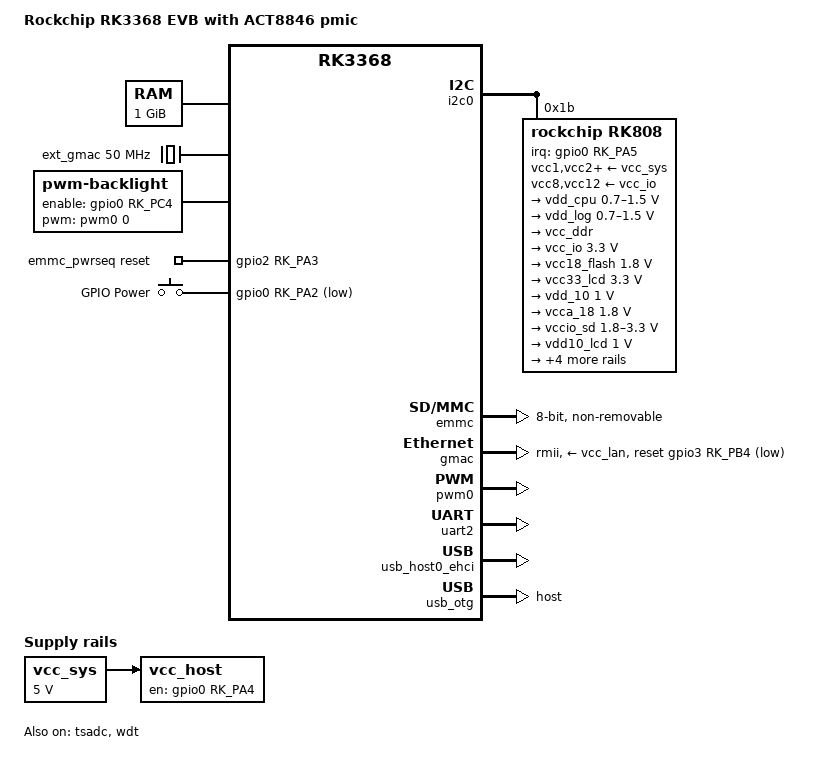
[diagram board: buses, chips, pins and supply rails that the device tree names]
// SPDX-License-Identifier: (GPL-2.0+ OR MIT)
/*
 * Copyright (c) 2015 Caesar Wang <wxt@rock-chips.com>
 */
/dts-v1/;
#include <dt-bindings/input/input.h>
#include <dt-bindings/pwm/pwm.h>
#include "rk3368.dtsi"
#include "rk3368-u-boot.dtsi"

/ {
	model = "Rockchip RK3368 EVB with ACT8846 pmic";
	compatible = "rockchip,rk3368-evb-act8846", "rockchip,rk3368";
	aliases {
		ethernet0 = &gmac;
		mmc0 = &emmc;
	};

	chosen {
		stdout-path = "serial2:1500000n8";
	};

	memory@0 {
		device_type = "memory";
		reg = <0x0 0x0 0x0 0x40000000>;
	};

	ext_gmac: gmac-clk {
		compatible = "fixed-clock";
		clock-frequency = <50000000>;
		clock-output-names = "ext_gmac";
		#clock-cells = <0>;
	};

	backlight: backlight {
		compatible = "pwm-backlight";
		brightness-levels = <
			  0   1   2   3   4   5   6   7
			  8   9  10  11  12  13  14  15
			 16  17  18  19  20  21  22  23
			 24  25  26  27  28  29  30  31
			 32  33  34  35  36  37  38  39
			 40  41  42  43  44  45  46  47
			 48  49  50  51  52  53  54  55
			 56  57  58  59  60  61  62  63
			 64  65  66  67  68  69  70  71
			 72  73  74  75  76  77  78  79
			 80  81  82  83  84  85  86  87
			 88  89  90  91  92  93  94  95
			 96  97  98  99 100 101 102 103
			104 105 106 107 108 109 110 111
			112 113 114 115 116 117 118 119
			120 121 122 123 124 125 126 127
			128 129 130 131 132 133 134 135
			136 137 138 139 140 141 142 143
			144 145 146 147 148 149 150 151
			152 153 154 155 156 157 158 159
			160 161 162 163 164 165 166 167
			168 169 170 171 172 173 174 175
			176 177 178 179 180 181 182 183
			184 185 186 187 188 189 190 191
			192 193 194 195 196 197 198 199
			200 201 202 203 204 205 206 207
			208 209 210 211 212 213 214 215
			216 217 218 219 220 221 222 223
			224 225 226 227 228 229 230 231
			232 233 234 235 236 237 238 239
			240 241 242 243 244 245 246 247
			248 249 250 251 252 253 254 255>;
		default-brightness-level = <128>;
		enable-gpios = <&gpio0 RK_PC4 GPIO_ACTIVE_HIGH>;
		pinctrl-names = "default";
		pinctrl-0 = <&bl_en>;
		pwms = <&pwm0 0 1000000 PWM_POLARITY_INVERTED>;
	};

	emmc_pwrseq: emmc-pwrseq {
		compatible = "mmc-pwrseq-emmc";
		pinctrl-0 = <&emmc_reset>;
		pinctrl-names = "default";
		reset-gpios = <&gpio2 RK_PA3 GPIO_ACTIVE_HIGH>;
	};

	keys: gpio-keys {
		compatible = "gpio-keys";
		pinctrl-names = "default";
		pinctrl-0 = <&pwr_key>;

		key-power {
			wakeup-source;
			gpios = <&gpio0 RK_PA2 GPIO_ACTIVE_LOW>;
			label = "GPIO Power";
			linux,code = <KEY_POWER>;
		};
	};

	/* supplies both host and otg */
	vcc_host: regulator-vcc-host {
		compatible = "regulator-fixed";
		enable-active-high;
		gpio = <&gpio0 RK_PA4 GPIO_ACTIVE_HIGH>;
		pinctrl-names = "default";
		pinctrl-0 = <&host_vbus_drv>;
		regulator-name = "vcc_host";
		regulator-always-on;
		regulator-boot-on;
		vin-supply = <&vcc_sys>;
	};

	vcc_sys: regulator-vcc-sys {
		compatible = "regulator-fixed";
		regulator-name = "vcc_sys";
		regulator-min-microvolt = <5000000>;
		regulator-max-microvolt = <5000000>;
		regulator-always-on;
		regulator-boot-on;
	};
};

&i2c0 {
	status = "okay";

	rk808: pmic@1b {
		compatible = "rockchip,rk808";
		reg = <0x1b>;
		pinctrl-names = "default";
		pinctrl-0 = <&pmic_int>;
		interrupt-parent = <&gpio0>;
		interrupts = <RK_PA5 IRQ_TYPE_LEVEL_LOW>;
		system-power-controller;
		vcc1-supply = <&vcc_sys>;
		vcc2-supply = <&vcc_sys>;
		vcc3-supply = <&vcc_sys>;
		vcc4-supply = <&vcc_sys>;
		vcc6-supply = <&vcc_sys>;
		vcc7-supply = <&vcc_sys>;
		vcc8-supply = <&vcc_io>;
		vcc9-supply = <&vcc_sys>;
		vcc10-supply = <&vcc_sys>;
		vcc11-supply = <&vcc_sys>;
		vcc12-supply = <&vcc_io>;
		clock-output-names = "xin32k", "rk808-clkout2";
		#clock-cells = <1>;

		regulators {
			vdd_cpu: DCDC_REG1 {
				regulator-always-on;
				regulator-boot-on;
				regulator-min-microvolt = <700000>;
				regulator-max-microvolt = <1500000>;
				regulator-name = "vdd_cpu";
			};

			vdd_log: DCDC_REG2 {
				regulator-always-on;
				regulator-boot-on;
				regulator-min-microvolt = <700000>;
				regulator-max-microvolt = <1500000>;
				regulator-name = "vdd_log";
			};

			vcc_ddr: DCDC_REG3 {
				regulator-always-on;
				regulator-boot-on;
				regulator-name = "vcc_ddr";
			};

			vcc_io: DCDC_REG4 {
				regulator-always-on;
				regulator-boot-on;
				regulator-min-microvolt = <3300000>;
				regulator-max-microvolt = <3300000>;
				regulator-name = "vcc_io";
			};

			vcc18_flash: LDO_REG1 {
				regulator-always-on;
				regulator-boot-on;
				regulator-min-microvolt = <1800000>;
				regulator-max-microvolt = <1800000>;
				regulator-name = "vcc18_flash";
			};

			vcc33_lcd: LDO_REG2 {
				regulator-always-on;
				regulator-boot-on;
				regulator-min-microvolt = <3300000>;
				regulator-max-microvolt = <3300000>;
				regulator-name = "vcc33_lcd";
			};

			vdd_10: LDO_REG3 {
				regulator-always-on;
				regulator-boot-on;
				regulator-min-microvolt = <1000000>;
				regulator-max-microvolt = <1000000>;
				regulator-name = "vdd_10";
			};

			vcca_18: LDO_REG4 {
				regulator-boot-on;
				regulator-min-microvolt = <1800000>;
				regulator-max-microvolt = <1800000>;
				regulator-name = "vcca_18";
			};

			vccio_sd: LDO_REG5 {
				regulator-always-on;
				regulator-boot-on;
				regulator-min-microvolt = <1800000>;
				regulator-max-microvolt = <3300000>;
				regulator-name = "vccio_sd";
			};

			vdd10_lcd: LDO_REG6 {
				regulator-always-on;
				regulator-boot-on;
				regulator-min-microvolt = <1000000>;
				regulator-max-microvolt = <1000000>;
				regulator-name = "vdd10_lcd";
			};

			vcc_18: LDO_REG7 {
				regulator-always-on;
				regulator-boot-on;
				regulator-min-microvolt = <1800000>;
				regulator-max-microvolt = <1800000>;
				regulator-name = "vcc_18";
			};

			vcc18_lcd: LDO_REG8 {
				regulator-always-on;
				regulator-boot-on;
				regulator-min-microvolt = <1800000>;
				regulator-max-microvolt = <1800000>;
				regulator-name = "vcc18_lcd";
			};

			vcc_sd: SWITCH_REG1 {
				regulator-name = "vcc_sd";
			};

			vcc_lan: SWITCH_REG2 {
				regulator-always-on;
				regulator-boot-on;
				regulator-name = "vcc_lan";
			};
		};
	};
};

&emmc {
	resets = <&cru SRST_EMMC>;
	reset-names = "mmc_ahb_reset";
	bus-width = <8>;
	cap-mmc-highspeed;
	mmc-pwrseq = <&emmc_pwrseq>;
	non-removable;
	supports-emmc;
	supports-highspeed;
	bootpart-no-access;
	pinctrl-names = "default";
	pinctrl-0 = <&emmc_clk &emmc_cmd &emmc_bus8>;
	status = "okay";
};

&gmac {
	status = "okay";
	phy-supply = <&vcc_lan>;
	phy-mode = "rmii";
	clock_in_out = "output";
	snps,reset-gpio = <&gpio3 RK_PB4 GPIO_ACTIVE_LOW>;
	snps,reset-active-low;
	snps,reset-delays-us = <0 10000 1000000>;
	assigned-clocks = <&cru SCLK_MAC>;
	assigned-clock-parents = <&ext_gmac>;
	pinctrl-names = "default";
	pinctrl-0 = <&rgmii_pins>;
	tx_delay = <0x30>;
	rx_delay = <0x10>;
};


&gmac {
	phy-supply = <&vcc_lan>;
	phy-mode = "rmii";
	clock_in_out = "output";
	snps,reset-gpio = <&gpio3 RK_PB4 GPIO_ACTIVE_LOW>;
	snps,reset-active-low;
	snps,reset-delays-us = <0 10000 1000000>;
	pinctrl-names = "default";
	pinctrl-0 = <&rmii_pins>;
	tx_delay = <0x30>;
	rx_delay = <0x10>;
	status = "okay";
};

&pinctrl {
	pcfg_pull_none_drv_8ma: pcfg-pull-none-drv-8ma {
		bias-disable;
		drive-strength = <8>;
	};

	pcfg_pull_up_drv_8ma: pcfg-pull-up-drv-8ma {
		bias-pull-up;
		drive-strength = <8>;
	};

	backlight {
		bl_en: bl-en {
			rockchip,pins = <0 RK_PC3 RK_FUNC_GPIO &pcfg_pull_none>;
		};
	};

	emmc {
		emmc_bus4: emmc-bus4 {
			rockchip,pins = <1 RK_PC2 2 &pcfg_pull_up_drv_8ma>,
					<1 RK_PC3 2 &pcfg_pull_up_drv_8ma>,
					<1 RK_PC4 2 &pcfg_pull_up_drv_8ma>,
					<1 RK_PC5 2 &pcfg_pull_up_drv_8ma>;
		};

		emmc-clk {
			rockchip,pins = <2 RK_PA4 2 &pcfg_pull_none_drv_8ma>;
		};

		emmc-cmd {
			rockchip,pins = <1 RK_PD2 2 &pcfg_pull_up_drv_8ma>;
		};

		emmc_reset: emmc-reset {
			rockchip,pins = <2 RK_PA3 RK_FUNC_GPIO &pcfg_pull_none>;
		};
	};

	keys {
		pwr_key: pwr-key {
			rockchip,pins = <0 RK_PA2 RK_FUNC_GPIO &pcfg_pull_up>;
		};
	};

	pmic {
		pmic_int: pmic-int {
			rockchip,pins = <0 RK_PA1 RK_FUNC_GPIO &pcfg_pull_up>;
		};
	};

	sdio {
		wifi_reg_on: wifi-reg-on {
			rockchip,pins = <3 RK_PA4 RK_FUNC_GPIO &pcfg_pull_none>;
		};

		bt_rst: bt-rst {
			rockchip,pins = <3 RK_PA5 RK_FUNC_GPIO &pcfg_pull_none>;
		};
	};

	usb {
		host_vbus_drv: host-vbus-drv {
			rockchip,pins = <0 RK_PA4 RK_FUNC_GPIO &pcfg_pull_none>;
		};
	};
};

&pwm0 {
	status = "okay";
};

&tsadc {
	rockchip,hw-tshut-mode = <0>; /* tshut mode 0:CRU 1:GPIO */
	rockchip,hw-tshut-polarity = <0>; /* tshut polarity 0:LOW 1:HIGH */
	status = "okay";
};

&uart2 {
	status = "okay";
};

&usb_host0_ehci {
	status = "okay";
};

&usb_otg {
	dr_mode = "host";
	status = "okay";
};

&wdt {
	status = "okay";
};
